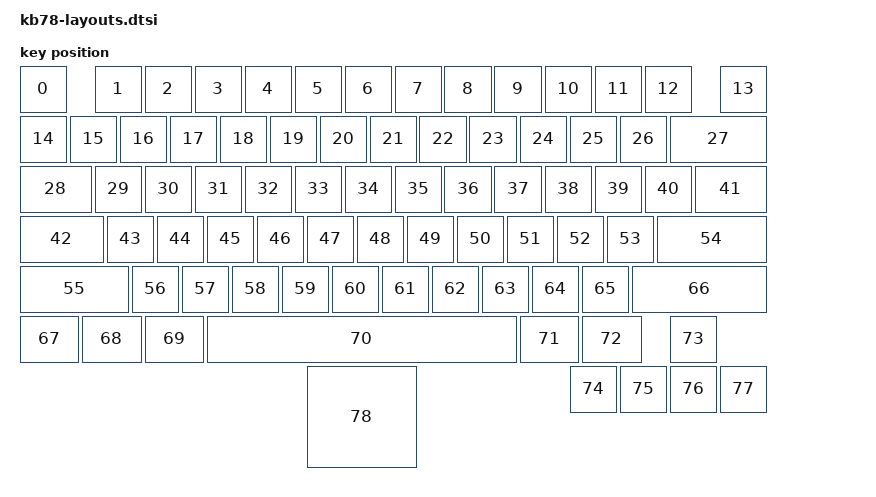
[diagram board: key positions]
/*
 * KB78 の物理配列（CLAUDE.md の KLE データから生成）
 * 単位は 1u = 100
 */

#include <physical_layouts.dtsi>

/ {
    physical_layout0: physical_layout_0 {
        compatible = "zmk,physical-layout";
        display-name = "Default";

        keys  //                     w   h    x    y  rot rx ry
            = <&key_physical_attrs 100 100    0   0   0  0  0>  //  0 Esc
            , <&key_physical_attrs 100 100  150   0   0  0  0>  //  1 F1
            , <&key_physical_attrs 100 100  250   0   0  0  0>  //  2 F2
            , <&key_physical_attrs 100 100  350   0   0  0  0>  //  3 F3
            , <&key_physical_attrs 100 100  450   0   0  0  0>  //  4 F4
            , <&key_physical_attrs 100 100  550   0   0  0  0>  //  5 F5
            , <&key_physical_attrs 100 100  650   0   0  0  0>  //  6 F6
            , <&key_physical_attrs 100 100  750   0   0  0  0>  //  7 F7
            , <&key_physical_attrs 100 100  850   0   0  0  0>  //  8 F8
            , <&key_physical_attrs 100 100  950   0   0  0  0>  //  9 F9
            , <&key_physical_attrs 100 100 1050   0   0  0  0>  // 10 F10
            , <&key_physical_attrs 100 100 1150   0   0  0  0>  // 11 F11
            , <&key_physical_attrs 100 100 1250   0   0  0  0>  // 12 F12
            , <&key_physical_attrs 100 100 1400   0   0  0  0>  // 13 Power
            , <&key_physical_attrs 100 100    0 100   0  0  0>  // 14 `
            , <&key_physical_attrs 100 100  100 100   0  0  0>  // 15 1
            , <&key_physical_attrs 100 100  200 100   0  0  0>  // 16 2
            , <&key_physical_attrs 100 100  300 100   0  0  0>  // 17 3
            , <&key_physical_attrs 100 100  400 100   0  0  0>  // 18 4
            , <&key_physical_attrs 100 100  500 100   0  0  0>  // 19 5
            , <&key_physical_attrs 100 100  600 100   0  0  0>  // 20 6
            , <&key_physical_attrs 100 100  700 100   0  0  0>  // 21 7
            , <&key_physical_attrs 100 100  800 100   0  0  0>  // 22 8
            , <&key_physical_attrs 100 100  900 100   0  0  0>  // 23 9
            , <&key_physical_attrs 100 100 1000 100   0  0  0>  // 24 0
            , <&key_physical_attrs 100 100 1100 100   0  0  0>  // 25 -
            , <&key_physical_attrs 100 100 1200 100   0  0  0>  // 26 =
            , <&key_physical_attrs 200 100 1300 100   0  0  0>  // 27 Delete
            , <&key_physical_attrs 150 100    0 200   0  0  0>  // 28 Tab
            , <&key_physical_attrs 100 100  150 200   0  0  0>  // 29 Q
            , <&key_physical_attrs 100 100  250 200   0  0  0>  // 30 W
            , <&key_physical_attrs 100 100  350 200   0  0  0>  // 31 E
            , <&key_physical_attrs 100 100  450 200   0  0  0>  // 32 R
            , <&key_physical_attrs 100 100  550 200   0  0  0>  // 33 T
            , <&key_physical_attrs 100 100  650 200   0  0  0>  // 34 Y
            , <&key_physical_attrs 100 100  750 200   0  0  0>  // 35 U
            , <&key_physical_attrs 100 100  850 200   0  0  0>  // 36 I
            , <&key_physical_attrs 100 100  950 200   0  0  0>  // 37 O
            , <&key_physical_attrs 100 100 1050 200   0  0  0>  // 38 P
            , <&key_physical_attrs 100 100 1150 200   0  0  0>  // 39 [
            , <&key_physical_attrs 100 100 1250 200   0  0  0>  // 40 ]
            , <&key_physical_attrs 150 100 1350 200   0  0  0>  // 41 \
            , <&key_physical_attrs 175 100    0 300   0  0  0>  // 42 Caps
            , <&key_physical_attrs 100 100  175 300   0  0  0>  // 43 A
            , <&key_physical_attrs 100 100  275 300   0  0  0>  // 44 S
            , <&key_physical_attrs 100 100  375 300   0  0  0>  // 45 D
            , <&key_physical_attrs 100 100  475 300   0  0  0>  // 46 F
            , <&key_physical_attrs 100 100  575 300   0  0  0>  // 47 G
            , <&key_physical_attrs 100 100  675 300   0  0  0>  // 48 H
            , <&key_physical_attrs 100 100  775 300   0  0  0>  // 49 J
            , <&key_physical_attrs 100 100  875 300   0  0  0>  // 50 K
            , <&key_physical_attrs 100 100  975 300   0  0  0>  // 51 L
            , <&key_physical_attrs 100 100 1075 300   0  0  0>  // 52 ;
            , <&key_physical_attrs 100 100 1175 300   0  0  0>  // 53 '
            , <&key_physical_attrs 225 100 1275 300   0  0  0>  // 54 Return
            , <&key_physical_attrs 225 100    0 400   0  0  0>  // 55 Shift
            , <&key_physical_attrs 100 100  225 400   0  0  0>  // 56 Z
            , <&key_physical_attrs 100 100  325 400   0  0  0>  // 57 X
            , <&key_physical_attrs 100 100  425 400   0  0  0>  // 58 C
            , <&key_physical_attrs 100 100  525 400   0  0  0>  // 59 V
            , <&key_physical_attrs 100 100  625 400   0  0  0>  // 60 B
            , <&key_physical_attrs 100 100  725 400   0  0  0>  // 61 N
            , <&key_physical_attrs 100 100  825 400   0  0  0>  // 62 M
            , <&key_physical_attrs 100 100  925 400   0  0  0>  // 63 ,
            , <&key_physical_attrs 100 100 1025 400   0  0  0>  // 64 .
            , <&key_physical_attrs 100 100 1125 400   0  0  0>  // 65 /
            , <&key_physical_attrs 275 100 1225 400   0  0  0>  // 66 Shift
            , <&key_physical_attrs 125 100    0 500   0  0  0>  // 67 Ctrl
            , <&key_physical_attrs 125 100  125 500   0  0  0>  // 68 Opt
            , <&key_physical_attrs 125 100  250 500   0  0  0>  // 69 Cmd
            , <&key_physical_attrs 625 100  375 500   0  0  0>  // 70 Space
            , <&key_physical_attrs 125 100 1000 500   0  0  0>  // 71 Cmd
            , <&key_physical_attrs 125 100 1125 500   0  0  0>  // 72 Opt
            , <&key_physical_attrs 100 100 1300 500   0  0  0>  // 73 Up
            , <&key_physical_attrs 100 100 1100 600   0  0  0>  // 74 Fn
            , <&key_physical_attrs 100 100 1200 600   0  0  0>  // 75 Left
            , <&key_physical_attrs 100 100 1300 600   0  0  0>  // 76 Down
            , <&key_physical_attrs 100 100 1400 600   0  0  0>  // 77 Right
            , <&key_physical_attrs 226 210  574 600   0  0  0>  // 78 Click
            ;
    };
};
